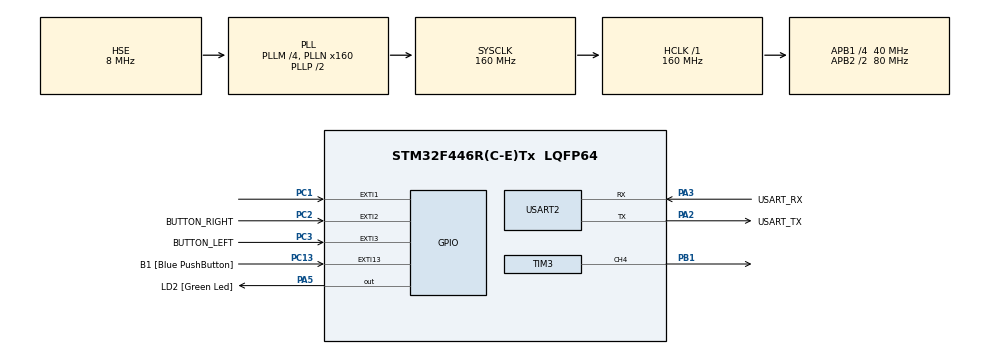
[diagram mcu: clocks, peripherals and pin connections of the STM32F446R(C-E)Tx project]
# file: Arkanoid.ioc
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Mcu.Family=STM32F4
Mcu.Name=STM32F446R(C-E)Tx
Mcu.Package=LQFP64
NVIC.EXTI15_10_IRQn=true\:0\:0\:false\:false\:true\:true
NVIC.EXTI1_IRQn=true\:0\:0\:false\:false\:true\:true
NVIC.EXTI2_IRQn=true\:0\:0\:false\:false\:true\:true
NVIC.EXTI3_IRQn=true\:0\:0\:false\:false\:true\:true
NVIC.PriorityGroup=NVIC_PRIORITYGROUP_0
NVIC.TIM1_UP_TIM10_IRQn=true\:0\:0\:false\:false\:true\:true
NVIC.TIM3_IRQn=true\:0\:0\:false\:false\:true\:true
PA13.GPIO_Label=TMS
PA13.Mode=Serial_Wire
PA13.Signal=SYS_JTMS-SWDIO
PA14.GPIO_Label=TCK
PA14.Mode=Serial_Wire
PA14.Signal=SYS_JTCK-SWCLK
PA2.GPIO_Label=USART_TX
PA2.Mode=Asynchronous
PA2.Signal=USART2_TX
PA3.GPIO_Label=USART_RX
PA3.Mode=Asynchronous
PA3.Signal=USART2_RX
PA5.GPIO_Label=LD2 [Green Led]
PA5.Signal=GPIO_Output
PB1.Signal=S_TIM3_CH4
PB3.GPIO_Label=SWO
PB3.Signal=SYS_JTDO-SWO
PC1.GPIO_ModeDefaultEXTI=GPIO_MODE_IT_FALLING
PC1.Signal=GPXTI1
PC13.GPIO_Label=B1 [Blue PushButton]
PC13.GPIO_ModeDefaultEXTI=GPIO_MODE_IT_FALLING
PC13.Signal=GPXTI13
PC14-OSC32_IN.Signal=RCC_OSC32_IN
PC15-OSC32_OUT.Signal=RCC_OSC32_OUT
PC2.GPIO_Label=BUTTON_RIGHT
PC2.GPIO_ModeDefaultEXTI=GPIO_MODE_IT_FALLING
PC2.Signal=GPXTI2
PC3.GPIO_Label=BUTTON_LEFT
PC3.GPIO_ModeDefaultEXTI=GPIO_MODE_IT_FALLING
PC3.Signal=GPXTI3
PH0-OSC_IN.Mode=HSE-External-Clock-Source
PH0-OSC_IN.Signal=RCC_OSC_IN
PH1-OSC_OUT.Mode=HSE-External-Clock-Source
PH1-OSC_OUT.Signal=RCC_OSC_OUT
ProjectManager.HeapSize=0x200
ProjectManager.StackSize=0x400
ProjectManager.TargetToolchain=SW4STM32
RCC.48MHZClocksFreq_Value=84000000
RCC.AHBFreq_Value=160000000
RCC.APB1CLKDivider=RCC_HCLK_DIV4
RCC.APB1Freq_Value=40000000
RCC.APB1TimFreq_Value=80000000
RCC.APB2CLKDivider=RCC_HCLK_DIV2
RCC.APB2Freq_Value=80000000
RCC.APB2TimFreq_Value=160000000
RCC.CortexFreq_Value=160000000
RCC.FLatency-AdvancedSettings=FLASH_LATENCY_5
RCC.HCLKFreq_Value=160000000
RCC.HSE_VALUE=8000000
RCC.HSI_VALUE=16000000
RCC.PLLM=4
RCC.PLLN=160
RCC.PLLSourceVirtual=RCC_PLLSOURCE_HSE
RCC.SYSCLKFreq_VALUE=160000000
RCC.SYSCLKSource=RCC_SYSCLKSOURCE_PLLCLK
RCC.USBFreq_Value=160000000
RCC.VCOOutputFreq_Value=320000000
SH.S_TIM3_CH4.0=TIM3_CH4,PWM Generation4 CH4
TIM10.Period=10000 -1
TIM10.Prescaler=18000 -1
TIM3.Channel-PWM\ Generation4\ CH4=TIM_CHANNEL_4
TIM3.Period=100 -1
TIM3.Prescaler=9000 -1
USART2.VirtualMode=VM_ASYNC
VP_TIM10_VS_ClockSourceINT.Mode=Enable_Timer
board=NUCLEO-F446RE

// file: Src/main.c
/**
 ******************************************************************************
 * @file           : main.c
 * @brief          : Main program body
 ******************************************************************************
 ** This notice applies to any and all portions of this file
 * that are not between comment pairs USER CODE BEGIN and
 * USER CODE END. Other portions of this file, whether
 * inserted by the user or by software development tools
 * are owned by their respective copyright owners.
 *
 * COPYRIGHT(c) 2018 STMicroelectronics
 *
 * Redistribution and use in source and binary forms, with or without modification,
 * are permitted provided that the following conditions are met:
 *   1. Redistributions of source code must retain the above copyright notice,
 *      this list of conditions and the following disclaimer.
 *   2. Redistributions in binary form must reproduce the above copyright notice,
 *      this list of conditions and the following disclaimer in the documentation
 *      and/or other materials provided with the distribution.
 *   3. Neither the name of STMicroelectronics nor the names of its contributors
 *      may be used to endorse or promote products derived from this software
 *      without specific prior written permission.
 *
 * THIS SOFTWARE IS PROVIDED BY THE COPYRIGHT HOLDERS AND CONTRIBUTORS "AS IS"
 * AND ANY EXPRESS OR IMPLIED WARRANTIES, INCLUDING, BUT NOT LIMITED TO, THE
 * IMPLIED WARRANTIES OF MERCHANTABILITY AND FITNESS FOR A PARTICULAR PURPOSE ARE
 * DISCLAIMED. IN NO EVENT SHALL THE COPYRIGHT HOLDER OR CONTRIBUTORS BE LIABLE
 * FOR ANY DIRECT, INDIRECT, INCIDENTAL, SPECIAL, EXEMPLARY, OR CONSEQUENTIAL
 * DAMAGES (INCLUDING, BUT NOT LIMITED TO, PROCUREMENT OF SUBSTITUTE GOODS OR
 * SERVICES; LOSS OF USE, DATA, OR PROFITS; OR BUSINESS INTERRUPTION) HOWEVER
 * CAUSED AND ON ANY THEORY OF LIABILITY, WHETHER IN CONTRACT, STRICT LIABILITY,
 * OR TORT (INCLUDING NEGLIGENCE OR OTHERWISE) ARISING IN ANY WAY OUT OF THE USE
 * OF THIS SOFTWARE, EVEN IF ADVISED OF THE POSSIBILITY OF SUCH DAMAGE.
 *
 ******************************************************************************
 */
#include "main.h"
#include "stm32f4xx_hal.h"
#include "tim.h"
#include "usart.h"
#include "gpio.h"

/* USER CODE BEGIN Includes */

#include "lcd.h"
#include "game/ball.h"

/* USER CODE END Includes */

/* USER CODE BEGIN PV */
/* Private variables ---------------------------------------------------------*/

/* USER CODE END PV */

void SystemClock_Config(void);

/* USER CODE BEGIN PFP */
/* Private function prototypes -----------------------------------------------*/

/* USER CODE END PFP */

int main(void) {

	/* MCU Configuration----------------------------------------------------------*/

	/* Reset of all peripherals, Initializes the Flash interface and the Systick. */
	HAL_Init();

	/* Configure the system clock */
	SystemClock_Config();

	/* Initialize all configured peripherals */
	MX_GPIO_Init();
	MX_USART2_UART_Init();
	MX_TIM10_Init();
	MX_TIM3_Init();
	/* USER CODE BEGIN 2 */

	LCD_Init();
	HAL_TIM_Base_Start_IT(&htim10);
	//HAL_TIM_Base_Start_IT(&htim3);

	game_init();

	/* USER CODE END 2 */

	/* Infinite loop */
	while (1) {

		/* USER CODE BEGIN 3 */
		/* Start single measurement */
		if (scene.status == GAME_STATUS_PLAYING) {
			LCD_Printf("Score: %d", player.score);
			LCD_SetCursor(0, 0);
			game_draw_ball();
			game_draw_player();
			game_draw_blocks();

		} else if (scene.status == GAME_STATUS_WIN) {
			LCD_SetCursor((scene.width / 2) - 40, scene.height / 2);
			LCD_FillScreen(BLACK);
			LCD_SetTextColor(WHITE, BLACK);
			LCD_SetTextSize(1);
			LCD_Printf("WIN!");
		} else {
			LCD_FillScreen(BLACK);
			LCD_SetTextColor(WHITE, BLACK);
			LCD_SetCursor((scene.width / 2) - 10, scene.height / 2);
			LCD_Printf("Game Over!");
		}

		//HAL_Delay(100);

	}
	/* USER CODE END 3 */

}

void SystemClock_Config(void) {

	RCC_OscInitTypeDef RCC_OscInitStruct;
	RCC_ClkInitTypeDef RCC_ClkInitStruct;

	/**Configure the main internal regulator output voltage
	 */
	__HAL_RCC_PWR_CLK_ENABLE()
	;

	__HAL_PWR_VOLTAGESCALING_CONFIG(PWR_REGULATOR_VOLTAGE_SCALE1);

	/**Initializes the CPU, AHB and APB busses clocks
	 */
	RCC_OscInitStruct.OscillatorType = RCC_OSCILLATORTYPE_HSE;
	RCC_OscInitStruct.HSEState = RCC_HSE_BYPASS;
	RCC_OscInitStruct.PLL.PLLState = RCC_PLL_ON;
	RCC_OscInitStruct.PLL.PLLSource = RCC_PLLSOURCE_HSE;
	RCC_OscInitStruct.PLL.PLLM = 4;
	RCC_OscInitStruct.PLL.PLLN = 160;
	RCC_OscInitStruct.PLL.PLLP = RCC_PLLP_DIV2;
	RCC_OscInitStruct.PLL.PLLQ = 2;
	RCC_OscInitStruct.PLL.PLLR = 2;
	if (HAL_RCC_OscConfig(&RCC_OscInitStruct) != HAL_OK) {
		_Error_Handler(__FILE__, __LINE__);
	}

	/**Initializes the CPU, AHB and APB busses clocks
	 */
	RCC_ClkInitStruct.ClockType = RCC_CLOCKTYPE_HCLK | RCC_CLOCKTYPE_SYSCLK
			| RCC_CLOCKTYPE_PCLK1 | RCC_CLOCKTYPE_PCLK2;
	RCC_ClkInitStruct.SYSCLKSource = RCC_SYSCLKSOURCE_PLLCLK;
	RCC_ClkInitStruct.AHBCLKDivider = RCC_SYSCLK_DIV1;
	RCC_ClkInitStruct.APB1CLKDivider = RCC_HCLK_DIV4;
	RCC_ClkInitStruct.APB2CLKDivider = RCC_HCLK_DIV2;

	if (HAL_RCC_ClockConfig(&RCC_ClkInitStruct, FLASH_LATENCY_5) != HAL_OK) {
		_Error_Handler(__FILE__, __LINE__);
	}

	/**Configure the Systick interrupt time
	 */
	HAL_SYSTICK_Config(HAL_RCC_GetHCLKFreq() / 1000);

	/**Configure the Systick
	 */
	HAL_SYSTICK_CLKSourceConfig(SYSTICK_CLKSOURCE_HCLK);

	/* SysTick_IRQn interrupt configuration */
	HAL_NVIC_SetPriority(SysTick_IRQn, 0, 0);
}

void _Error_Handler(char *file, int line) {
	while (1) {
	}
}

/************************ (C) COPYRIGHT STMicroelectronics *****END OF FILE****/
